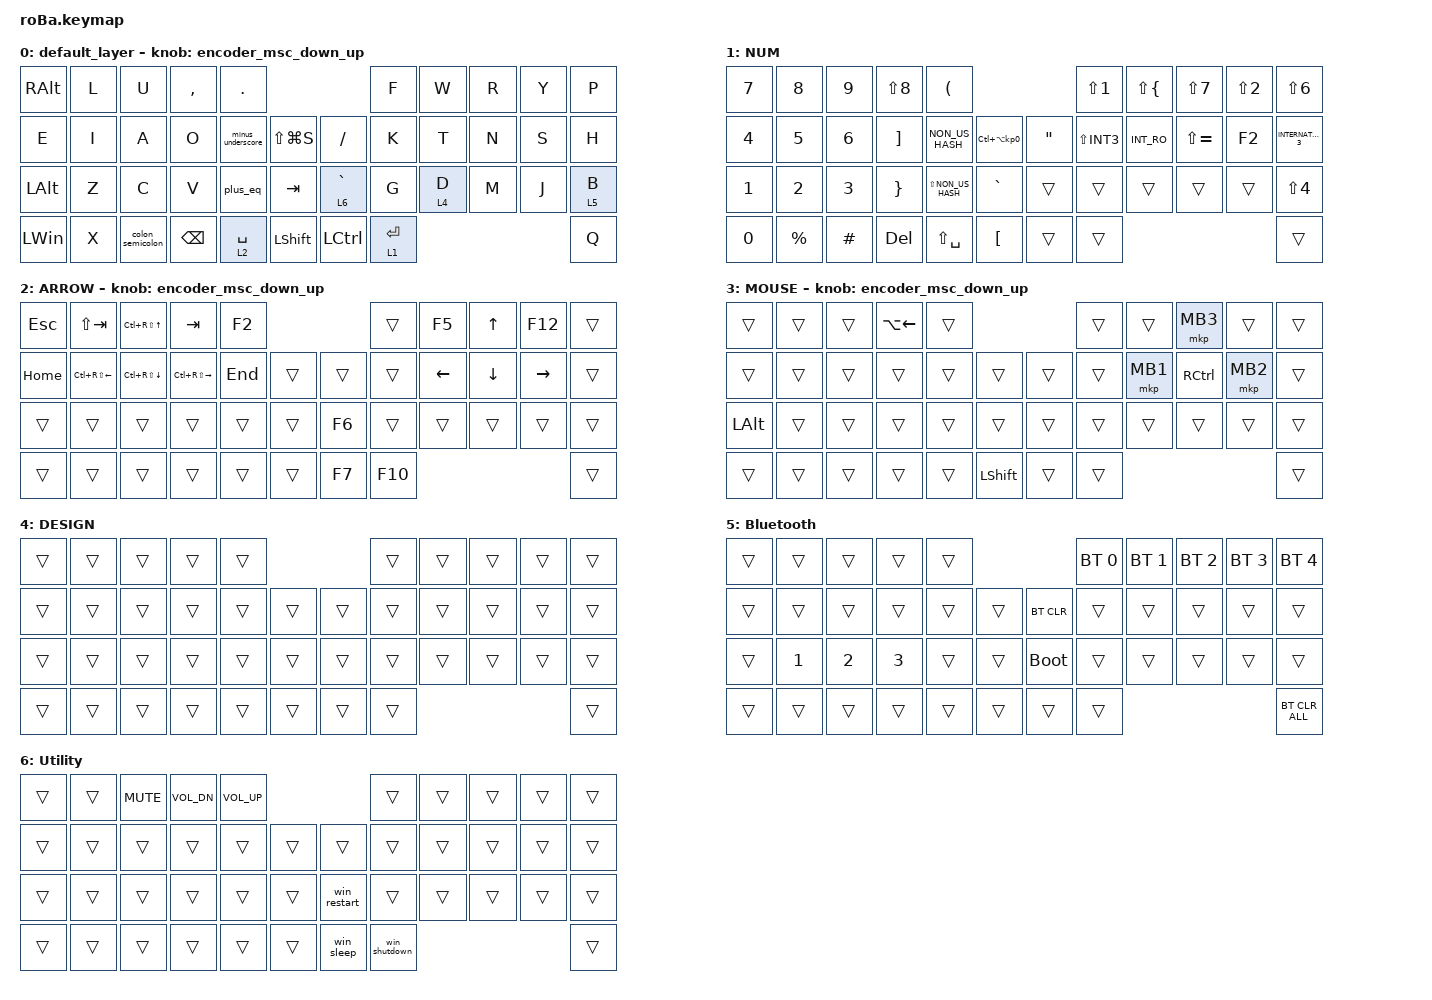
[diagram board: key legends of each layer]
#define ZMK_POINTING_DEFAULT_SCRL_VAL 80

#include <input/processors.dtsi>
#include <behaviors.dtsi>
#include <dt-bindings/zmk/bt.h>
#include <dt-bindings/zmk/keys.h>
#include <dt-bindings/zmk/pointing.h>

&mkp_input_listener { input-processors = <&zip_temp_layer 3 250>; };

&mt {
    flavor = "balanced";
    quick-tap-ms = <0>;
};

&trackball {
    automouse-layer = <4>;
    scroll-layers = <5>;

    // arrows {
    //     layers = <3>;
    //     bindings =
    //         <&kp RIGHT_ARROW>,
    //         <&kp LEFT_ARROW>,
    //         <&kp UP_ARROW>,
    //         <&kp DOWN_ARROW>;
    //     tick = <10>;
    //     wait-ms = <5>;
    //     tap-ms = <5>;
    // };
};

/ {
    combos { compatible = "zmk,combos"; };

    macros {
        to_layer_0: to_layer_0 {
            compatible = "zmk,behavior-macro-one-param";
            #binding-cells = <1>;
            bindings = <&to 0 &macro_param_1to1 &kp MACRO_PLACEHOLDER>;
            label = "TO_LAYER_0";
        };

        change_US_to_JP: change_US_to_JP {
            compatible = "zmk,behavior-macro";
            #binding-cells = <0>;
            bindings =
                <&macro_press>,
                <&kp LEFT_WIN>,
                <&macro_tap>,
                <&kp SPACE>,
                <&macro_release>,
                <&kp LEFT_WIN>;

            // 左Altキーを離す

            label = "CHANGE_US_TO_JP";
        };

        win_sleep: win_sleep {
            compatible = "zmk,behavior-macro";
            #binding-cells = <0>;
            bindings =
                <&macro_press>,
                <&kp LEFT_WIN>,
                <&macro_tap>,
                <&kp X>,
                <&macro_release>,
                <&kp LEFT_WIN>,
                <&macro_tap>,
                <&kp U>,
                <&macro_tap>,
                <&kp S>;

            label = "WIN_SLEEP";
        };

        win_shutdown: win_shutdown {
            compatible = "zmk,behavior-macro";
            #binding-cells = <0>;
            bindings =
                <&macro_press>,
                <&kp LEFT_WIN>,
                <&macro_tap>,
                <&kp X>,
                <&macro_release>,
                <&kp LEFT_WIN>,
                <&macro_tap>,
                <&kp U>,
                <&macro_tap>,
                <&kp U>;

            label = "WIN_SHUTDOWN";
        };

        win_restart: win_restart {
            compatible = "zmk,behavior-macro";
            #binding-cells = <0>;
            bindings =
                <&macro_press>,
                <&kp LEFT_WIN>,
                <&macro_tap>,
                <&kp X>,
                <&macro_release>,
                <&kp LEFT_WIN>,
                <&macro_tap>,
                <&kp U>,
                <&macro_tap>,
                <&kp R>;

            label = "WIN_RESTART";
        };
    };

    behaviors {
        lt_to_layer_0: lt_to_layer_0 {
            compatible = "zmk,behavior-hold-tap";
            label = "LAYER_TAP_TO_0";
            bindings = <&mo>, <&to_layer_0>;

            #binding-cells = <2>;
            tapping-term-ms = <200>;
        };

        encoder_msc_down_up: encoder_msc_down_up {
            compatible = "zmk,behavior-sensor-rotate";
            label = "ENCODER_MSC_DOWN_UP";
            #sensor-binding-cells = <0>;
            bindings = <&msc SCRL_DOWN>, <&msc SCRL_UP>;

            tap-ms = <20>;

            // タップでIME切替、ホールドでCapsLockになる新しい動作を定義
        };

        th_ime_caps: th_ime_caps {
            compatible = "zmk,behavior-hold-tap";
            label = "TH_IME_CAPS";
            bindings = <&kp>, <&change_US_to_JP>;

            #binding-cells = <2>;
            tapping-term-ms = <200>;
            flavor = "balanced";
        };

        plus_eq: plus_eq {
            compatible = "zmk,behavior-mod-morph";
            label = "PLUS_EQ";
            bindings = <&kp LS(SEMICOLON)>, <&kp LS(MINUS)>;

            #binding-cells = <0>;
            mods = <(MOD_LSFT|MOD_RSFT)>;
        };

        minus_underscore: minus_underscore {
            compatible = "zmk,behavior-mod-morph";
            label = "MINUS_UNDERSCORE";
            bindings = <&kp MINUS>, <&kp RS(INT_RO)>;

            #binding-cells = <0>;
            mods = <(MOD_LSFT|MOD_RSFT)>;
        };

        colon_semicolon: colon_semicolon {
            compatible = "zmk,behavior-mod-morph";
            label = "COLON_SEMICOLON";
            bindings = <&kp SQT>, <&kp SEMICOLON>;

            #binding-cells = <0>;
            mods = <(MOD_LSFT|MOD_RSFT)>;
        };
    };

    keymap {
        compatible = "zmk,keymap";

        default_layer {
            bindings = <
&kp RIGHT_ALT  &kp L  &kp U             &kp COMMA      &kp PERIOD                                               &kp F        &kp W    &kp R  &kp Y  &kp P
&kp E          &kp I  &kp A             &kp O          &minus_underscore  &kp LS(LG(S))       &kp SLASH         &kp K        &kp T    &kp N  &kp S  &kp H
&kp LEFT_ALT   &kp Z  &kp C             &kp V          &plus_eq           &kp TAB             &lt 6 GRAVE       &kp G        &lt 4 D  &kp M  &kp J  &lt 5 B
&kp LEFT_WIN   &kp X  &colon_semicolon  &kp BACKSPACE  &lt 2 SPACE        &kp LEFT_SHIFT      &kp LEFT_CONTROL  &lt 1 ENTER                         &kp Q
            >;

            sensor-bindings = <&encoder_msc_down_up>;
        };

        NUM {
            bindings = <
&kp NUMBER_7  &kp NUMBER_8  &kp NUMBER_9  &kp LS(N8)         &kp LEFT_PARENTHESIS                                                  &kp LS(NUMBER_1)  &kp LS(LEFT_BRACE)  &kp LS(N7)     &kp LS(NUMBER_2)  &kp LS(NUMBER_6)
&kp NUMBER_4  &kp NUMBER_5  &kp NUMBER_6  &kp RIGHT_BRACKET  &kp NON_US_HASH       &kp LC(LA(KP_NUMBER_0))      &kp DOUBLE_QUOTES  &kp LS(INT3)      &kp INT_RO          &kp LS(EQUAL)  &kp F2            &kp INTERNATIONAL_3
&kp NUMBER_1  &kp NUMBER_2  &kp NUMBER_3  &kp RIGHT_BRACE    &kp LS(NON_US_HASH)   &kp GRAVE                    &trans             &trans            &trans              &trans         &trans            &kp LS(NUMBER_4)
&kp NUMBER_0  &kp PERCENT   &kp HASH      &kp DELETE         &kp LS(SPACE)         &kp LEFT_BRACKET             &trans             &trans                                                                 &trans
            >;
        };

        ARROW {
            bindings = <
&kp ESCAPE  &kp LS(TAB)             &kp LC(RS(UP_ARROW))    &kp TAB                  &kp F2                       &trans   &kp F5    &kp UP    &kp F12    &trans
&kp HOME    &kp LC(RS(LEFT_ARROW))  &kp LC(RS(DOWN_ARROW))  &kp LC(RS(RIGHT_ARROW))  &kp END  &trans      &trans  &trans   &kp LEFT  &kp DOWN  &kp RIGHT  &trans
&trans      &trans                  &trans                  &trans                   &trans   &trans      &kp F6  &trans   &trans    &trans    &trans     &trans
&trans      &trans                  &trans                  &trans                   &trans   &trans      &kp F7  &kp F10                                 &trans
            >;

            sensor-bindings = <&encoder_msc_down_up>;
        };

        MOUSE {
            bindings = <
&trans        &trans  &trans  &kp LA(LEFT_ARROW)  &trans                              &trans  &trans    &mkp MB3   &trans    &trans
&trans        &trans  &trans  &trans              &trans  &trans              &trans  &trans  &mkp MB1  &kp RCTRL  &mkp MB2  &trans
&kp LEFT_ALT  &trans  &trans  &trans              &trans  &trans              &trans  &trans  &trans    &trans     &trans    &trans
&trans        &trans  &trans  &trans              &trans  &kp LEFT_SHIFT      &trans  &trans                                 &trans
            >;

            sensor-bindings = <&encoder_msc_down_up>;
        };

        DESIGN {
            bindings = <
&trans  &trans  &trans  &trans  &trans                      &trans  &trans  &trans  &trans  &trans
&trans  &trans  &trans  &trans  &trans  &trans      &trans  &trans  &trans  &trans  &trans  &trans
&trans  &trans  &trans  &trans  &trans  &trans      &trans  &trans  &trans  &trans  &trans  &trans
&trans  &trans  &trans  &trans  &trans  &trans      &trans  &trans                          &trans
            >;
        };

        Bluetooth {
            bindings = <
&trans  &trans        &trans        &trans        &trans                           &bt BT_SEL 0  &bt BT_SEL 1  &bt BT_SEL 2  &bt BT_SEL 3  &bt BT_SEL 4
&trans  &trans        &trans        &trans        &trans  &trans      &bt BT_CLR   &trans        &trans        &trans        &trans        &trans
&trans  &kp NUMBER_1  &kp NUMBER_2  &kp NUMBER_3  &trans  &trans      &bootloader  &trans        &trans        &trans        &trans        &trans
&trans  &trans        &trans        &trans        &trans  &trans      &trans       &trans                                                  &bt BT_CLR_ALL
            >;
        };

        Utility {
            bindings = <
&trans  &trans  &kp K_MUTE  &kp C_VOL_DN  &kp C_VOLUME_UP                            &trans         &trans  &trans  &trans  &trans
&trans  &trans  &trans      &trans        &trans           &trans      &trans        &trans         &trans  &trans  &trans  &trans
&trans  &trans  &trans      &trans        &trans           &trans      &win_restart  &trans         &trans  &trans  &trans  &trans
&trans  &trans  &trans      &trans        &trans           &trans      &win_sleep    &win_shutdown                          &trans
            >;
        };
    };
};
